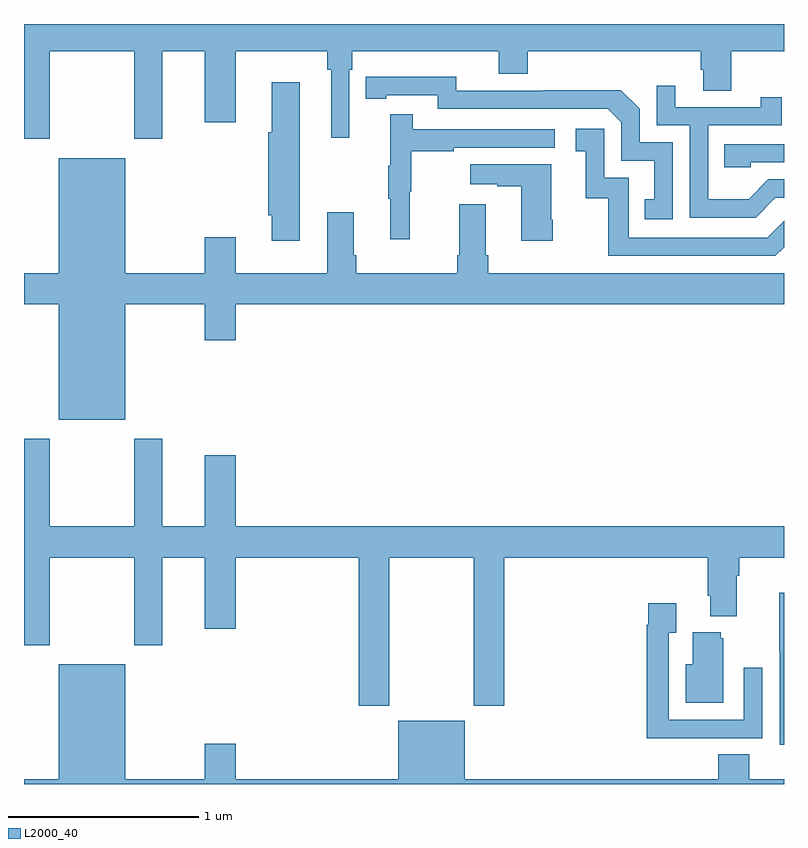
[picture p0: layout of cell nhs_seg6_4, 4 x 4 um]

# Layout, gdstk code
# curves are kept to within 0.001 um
import gdstk
lib = gdstk.Library(unit=1e-6, precision=1e-09)
def P(c, l, *ps):  # polygons
    for p in ps: c.add(gdstk.Polygon(p, *l))
L2000_40 = (2000, 40)

nhs_seg6_4 = lib.new_cell('nhs_seg6_4')
P(nhs_seg6_4, L2000_40, [(111.135,927.356),(111.58,927.356),(111.58,926.895),(111.727,926.895),(111.727,927.356),(111.95,927.356),(111.95,926.982),(112.114,926.982),(112.114,927.356),(112.597,927.356),(112.597,927.26),(112.616,927.26),(112.616,926.901),(112.713,926.901),(112.713,927.26),(112.727,927.26),(112.727,927.356),(113.498,927.356),(113.498,927.239),(113.651,927.239),(113.651,927.356),(114.563,927.356),(114.563,927.258),(114.575,927.258),(114.575,927.148),(114.723,927.148),(114.723,927.356),(115,927.356),(115,927.5),(111,927.5),(111,926.895),(111.135,926.895)],
  [(114.414,926.877),(114.24,926.877),(114.24,927.054),(114.142,927.152),(113.734,927.152),(113.734,927.15),(113.274,927.15),(113.274,927.223),(112.798,927.222),(112.798,927.106),(112.906,927.106),(112.906,927.126),(113.178,927.126),(113.178,927.054),(114.072,927.054),(114.144,926.982),(114.144,926.781),(114.317,926.781),(114.317,926.577),(114.268,926.577),(114.268,926.472),(114.414,926.472)],
  [(112.45,927.193),(112.304,927.193),(112.304,926.929),(112.286,926.929),(112.286,926.493),(112.304,926.493),(112.304,926.358),(112.45,926.358)],
  [(114.955,926.586),(115,926.586),(115,926.682),(114.918,926.682),(114.814,926.578),(114.6,926.578),(114.6,926.967),(114.989,926.967),(114.989,927.115),(114.878,927.115),(114.878,927.063),(114.427,927.063),(114.427,927.175),(114.33,927.175),(114.33,926.967),(114.504,926.967),(114.504,926.481),(114.85,926.481)],
  [(113.03,926.616),(113.038,926.616),(113.038,926.83),(113.261,926.83),(113.261,926.85),(113.794,926.85),(113.794,926.946),(113.045,926.946),(113.045,927.025),(112.928,927.025),(112.928,926.753),(112.917,926.753),(112.917,926.579),(112.928,926.579),(112.928,926.367),(113.03,926.367)],
  [(115,926.326),(115,926.464),(114.912,926.376),(114.183,926.376),(114.183,926.691),(114.054,926.691),(114.054,926.95),(113.904,926.95),(113.904,926.829),(113.957,926.829),(113.957,926.583),(114.075,926.583),(114.075,926.28),(114.954,926.28)],
  [(114.825,926.772),(115,926.772),(115,926.868),(114.685,926.868),(114.685,926.745),(114.825,926.745)],
  [(111.532,926.024),(111.95,926.024),(111.95,925.836),(112.114,925.836),(112.114,926.024),(115,926.024),(115,926.188),(113.444,926.188),(113.444,926.284),(113.431,926.284),(113.431,926.551),(113.291,926.551),(113.291,926.284),(113.279,926.284),(113.279,926.188),(112.748,926.188),(112.748,926.284),(112.735,926.284),(112.735,926.509),(112.595,926.509),(112.595,926.188),(112.114,926.188),(112.114,926.377),(111.95,926.377),(111.95,926.188),(111.532,926.188),(111.532,926.794),(111.182,926.794),(111.182,926.188),(111,926.188),(111,926.024),(111.182,926.024),(111.182,925.418),(111.532,925.418)],
  [(113.784,926.47),(113.776,926.47),(113.776,926.761),(113.349,926.761),(113.349,926.657),(113.492,926.657),(113.492,926.647),(113.618,926.647),(113.618,926.358),(113.784,926.358)],
  [(112.923,924.692),(113.368,924.692),(113.368,923.913),(113.528,923.913),(113.528,924.692),(114.599,924.692),(114.599,924.49),(114.611,924.49),(114.611,924.383),(114.751,924.383),(114.751,924.596),(114.764,924.596),(114.764,924.692),(115,924.692),(115,924.856),(112.114,924.856),(112.114,925.231),(111.95,925.231),(111.95,924.856),(111.727,924.856),(111.727,925.318),(111.58,925.318),(111.58,924.856),(111.135,924.856),(111.135,925.318),(111,925.318),(111,924.231),(111.135,924.231),(111.135,924.692),(111.58,924.692),(111.58,924.231),(111.727,924.231),(111.727,924.692),(111.95,924.692),(111.95,924.318),(112.114,924.318),(112.114,924.692),(112.763,924.692),(112.763,923.913),(112.923,923.913)],
  [(115,924.506),(114.976,924.506),(114.976,924.199),(114.978,924.199),(114.978,923.706),(115,923.706)],
  [(114.569,923.742),(114.885,923.742),(114.885,924.112),(114.789,924.112),(114.789,923.838),(114.393,923.838),(114.393,924.295),(114.433,924.295),(114.433,924.451),(114.285,924.451),(114.285,924.338),(114.277,924.338),(114.277,923.741),(114.569,923.741)],
  [(114.679,924.267),(114.668,924.267),(114.668,924.298),(114.521,924.298),(114.521,924.13),(114.482,924.13),(114.482,923.927),(114.679,923.927)],
  [(115,923.524),(114.818,923.524),(114.818,923.657),(114.653,923.657),(114.653,923.524),(113.32,923.524),(113.32,923.833),(112.97,923.833),(112.97,923.524),(112.114,923.524),(112.114,923.713),(111.95,923.713),(111.95,923.524),(111.532,923.524),(111.532,924.13),(111.182,924.13),(111.182,923.524),(111,923.524),(111,923.5),(115,923.5)])

lib.write_gds('nhs_seg6_4.gds')
